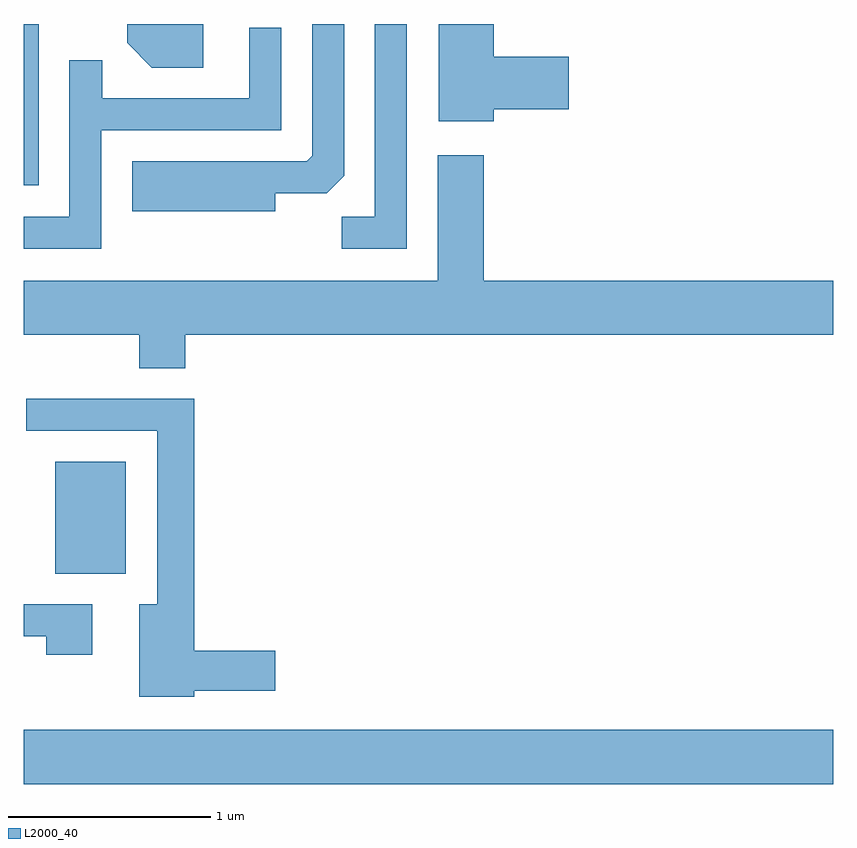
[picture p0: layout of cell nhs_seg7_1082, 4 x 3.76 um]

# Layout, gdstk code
import gdstk
lib = gdstk.Library(unit=1e-6, precision=1e-09)
def R(c, l, rs):  # rectangles x0, y0, x1, y1
    for r in rs: c.add(gdstk.rectangle(r[:2], r[2:], *l))
def P(c, l, *ps):  # polygons
    for p in ps: c.add(gdstk.Polygon(p, *l))
L2000_40 = (2000, 40)

nhs_seg7_1082 = lib.new_cell('nhs_seg7_1082')
R(nhs_seg7_1082, L2000_40, [(217.611,1756.496,221.611,1756.764), (217.766,1757.536,218.114,1758.089), (217.611,1759.456,217.684,1760.252)])
P(nhs_seg7_1082, L2000_40, [(218.499,1760.252),(218.121,1760.252),(218.121,1760.159),(218.244,1760.036),(218.499,1760.036)],
  [(219.504,1760.252),(219.346,1760.252),(219.346,1759.299),(219.183,1759.299),(219.183,1759.141),(219.504,1759.141)],
  [(219.934,1759.831),(220.304,1759.831),(220.304,1760.089),(219.934,1760.089),(219.934,1760.252),(219.661,1760.252),(219.661,1759.771),(219.934,1759.771)],
  [(218.854,1759.416),(219.109,1759.416),(219.194,1759.502),(219.194,1760.252),(219.036,1760.252),(219.036,1759.602),(219.009,1759.574),(218.146,1759.574),(218.146,1759.326),(218.854,1759.326)],
  [(217.994,1759.726),(218.884,1759.726),(218.884,1760.233),(218.726,1760.233),(218.726,1759.884),(217.999,1759.884),(217.999,1760.073),(217.836,1760.073),(217.836,1759.299),(217.611,1759.299),(217.611,1759.141),(217.994,1759.141)],
  [(218.409,1758.716),(221.611,1758.716),(221.611,1758.984),(219.884,1758.984),(219.884,1759.604),(219.656,1759.604),(219.656,1758.984),(217.611,1758.984),(217.611,1758.716),(218.181,1758.716),(218.181,1758.551),(218.409,1758.551)],
  [(218.454,1756.956),(218.854,1756.956),(218.854,1757.154),(218.454,1757.154),(218.454,1758.399),(217.623,1758.399),(217.623,1758.241),(218.271,1758.241),(218.271,1757.384),(218.181,1757.384),(218.181,1756.926),(218.454,1756.926)],
  [(217.949,1757.384),(217.611,1757.384),(217.611,1757.226),(217.721,1757.226),(217.721,1757.136),(217.949,1757.136)])

lib.write_gds('nhs_seg7_1082.gds')
